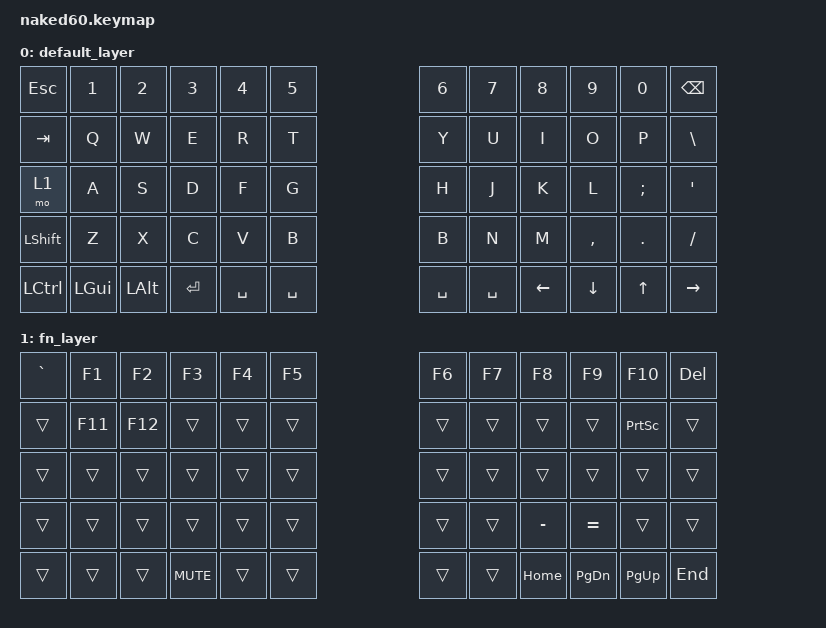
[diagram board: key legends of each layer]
/*
 * Copyright (c) 2020 The ZMK Contributors
 *
 * SPDX-License-Identifier: MIT
 */

#include <behaviors.dtsi>
#include <dt-bindings/zmk/keys.h>
#include <dt-bindings/zmk/bt.h>

#define TIMEOUT 100

/ {
    combos {
        compatible = "zmk,combos";
        combo_btclr {
            timeout-ms = <TIMEOUT>;
            key-positions = <0 41>;
            bindings = <&bt BT_CLR>;
        };
        combo_reset {
            timeout-ms = <TIMEOUT>;
            key-positions = <0 16>;
            bindings = <&reset>;
        };
        combo_bootloader {
            timeout-ms = <TIMEOUT>;
            key-positions = <0 11>;
            bindings = <&bootloader>;
        };
        combo_bt_nxt {
            timeout-ms = <TIMEOUT>;
            key-positions = <0 54>;
            bindings = <&bt BT_NXT>;
        };
    };
	keymap0: keymap {
		compatible = "zmk,keymap";

		default_layer {
            bindings = <
    &kp ESC   &kp N1    &kp N2    &kp N3    &kp N4    &kp N5                            &kp N6      &kp N7      &kp N8      &kp N9      &kp N0    &kp BSPC
    &kp TAB   &kp Q     &kp W     &kp E     &kp R     &kp T                             &kp Y       &kp U       &kp I       &kp O       &kp P     &kp BSLH
    &mo 1     &kp A     &kp S     &kp D     &kp F     &kp G                             &kp H       &kp J       &kp K       &kp L       &kp SEMI  &kp APOS
    &kp LSHFT &kp Z     &kp X     &kp C     &kp V     &kp B                             &kp B       &kp N       &kp M       &kp COMMA   &kp DOT   &kp FSLH
              &kp LCTRL &kp LGUI  &kp LALT  &kp RET   &kp SPACE  &kp SPACE   &kp SPACE  &kp SPACE   &kp LEFT    &kp DOWN    &kp UP      &kp RIGHT   
            >;
        };    
        fn_layer {
            bindings = <
    &kp GRAVE  &kp F1   &kp F2    &kp F3    &kp F4      &kp F5                            &kp F6      &kp F7      &kp F8      &kp F9      &kp F10    &kp DEL
    &trans     &kp F11  &kp F12   &trans    &trans      &trans                            &trans      &trans      &trans      &trans      &kp PSCRN  &trans
    &trans     &trans   &trans    &trans    &trans      &trans                            &trans      &trans      &trans      &trans      &trans     &trans
    &trans     &trans   &trans    &trans    &trans      &trans                            &trans      &trans      &kp MINUS   &kp EQUAL   &trans     &trans
               &trans   &trans    &trans    &kp C_MUTE  &trans    &trans     &trans       &trans      &kp HOME    &kp PG_DN   &kp PG_UP   &kp END
            >;  
        };
    };
}; 
